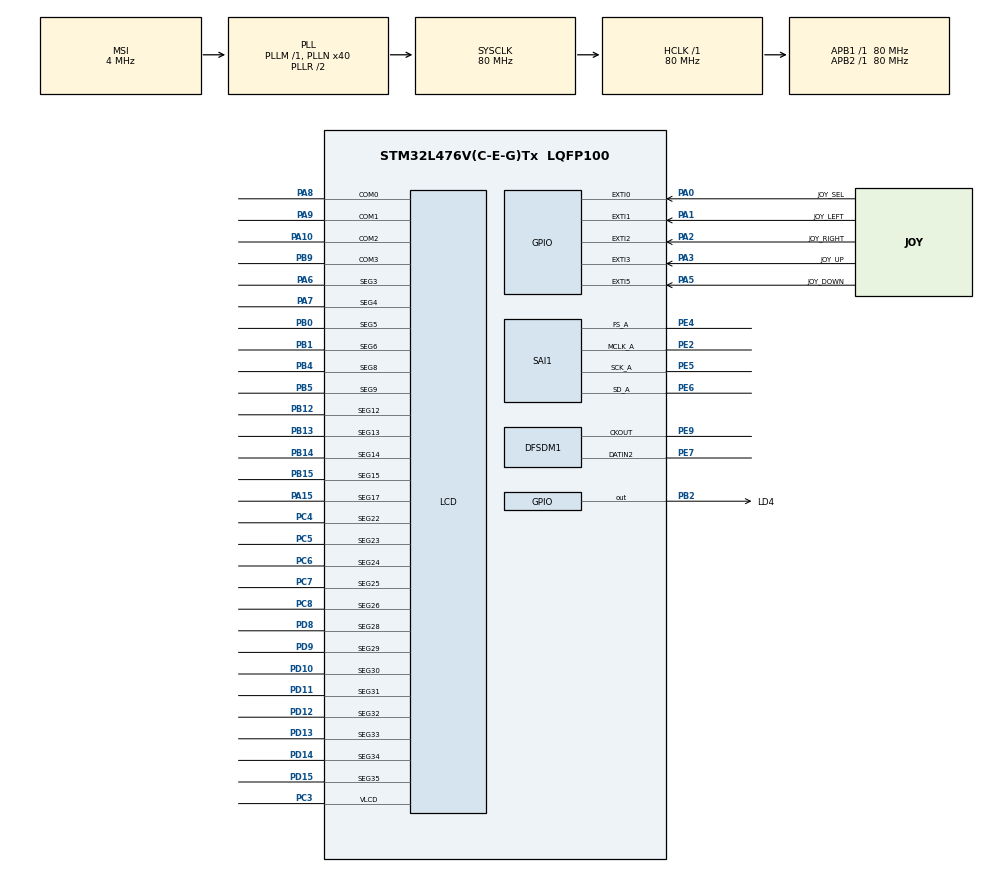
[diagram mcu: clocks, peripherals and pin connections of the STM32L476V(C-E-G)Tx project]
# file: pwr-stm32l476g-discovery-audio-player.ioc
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DFSDM1.Divider=4
DFSDM1.DmaMode_reg_FIL0=ENABLE
DFSDM1.FastMode_reg_FIL0=ENABLE
DFSDM1.Filter_injChannel2_FIL0=DFSDM_CHANNEL_2
DFSDM1.Filter_regChannel_FIL0=DFSDM_CHANNEL_2
DFSDM1.Fosr_FIL0=64
DFSDM1.Oversampling_CH2=10
DFSDM1.RightBitShift_CH2=0x02
DFSDM1.ScanMode_inj_FIL0=ENABLE
DFSDM1.Selection=DFSDM_CHANNEL_OUTPUT_CLOCK_AUDIO
DFSDM1.SincOrder_FIL0=DFSDM_FILTER_SINC3_ORDER
Dma.DFSDM1_FLT0.0.Direction=DMA_PERIPH_TO_MEMORY
Dma.DFSDM1_FLT0.0.Instance=DMA1_Channel4
Dma.DFSDM1_FLT0.0.MemDataAlignment=DMA_MDATAALIGN_WORD
Dma.DFSDM1_FLT0.0.MemInc=DMA_MINC_ENABLE
Dma.DFSDM1_FLT0.0.Mode=DMA_CIRCULAR
Dma.DFSDM1_FLT0.0.PeriphDataAlignment=DMA_PDATAALIGN_WORD
Dma.DFSDM1_FLT0.0.PeriphInc=DMA_PINC_DISABLE
Dma.DFSDM1_FLT0.0.Priority=DMA_PRIORITY_HIGH
Dma.Request0=DFSDM1_FLT0
Dma.Request1=SAI1_A
Dma.SAI1_A.1.Direction=DMA_MEMORY_TO_PERIPH
Dma.SAI1_A.1.Instance=DMA2_Channel1
Dma.SAI1_A.1.MemDataAlignment=DMA_MDATAALIGN_HALFWORD
Dma.SAI1_A.1.MemInc=DMA_MINC_ENABLE
Dma.SAI1_A.1.Mode=DMA_CIRCULAR
Dma.SAI1_A.1.PeriphDataAlignment=DMA_PDATAALIGN_HALFWORD
Dma.SAI1_A.1.PeriphInc=DMA_PINC_DISABLE
Dma.SAI1_A.1.Priority=DMA_PRIORITY_HIGH
LCD.Bias=LCD_BIAS_1_3
LCD.BlinkFrequency=LCD_BLINKFREQUENCY_DIV8
LCD.Contrast=LCD_CONTRASTLEVEL_5
LCD.Divider=LCD_DIVIDER_16
LCD.Prescaler=LCD_PRESCALER_4
LCD.PulseOnDuration=LCD_PULSEONDURATION_4
Mcu.Family=STM32L4
Mcu.Name=STM32L476V(C-E-G)Tx
Mcu.Package=LQFP100
NVIC.DMA1_Channel4_IRQn=true\:1\:0\:true\:false\:true\:false\:true\:true
NVIC.DMA2_Channel1_IRQn=true\:1\:0\:true\:false\:true\:false\:true\:true
NVIC.EXTI0_IRQn=true\:0\:0\:true\:false\:true\:true\:true\:true
NVIC.EXTI1_IRQn=true\:0\:0\:true\:false\:true\:true\:true\:true
NVIC.EXTI2_IRQn=true\:0\:0\:true\:false\:true\:true\:true\:true
NVIC.EXTI3_IRQn=true\:0\:0\:true\:false\:true\:true\:true\:true
NVIC.EXTI9_5_IRQn=true\:0\:0\:true\:false\:true\:true\:true\:true
NVIC.PriorityGroup=NVIC_PRIORITYGROUP_4
PA0.GPIO_Label=JOY_SEL
PA0.GPIO_PuPd=GPIO_PULLDOWN
PA0.Signal=GPXTI0
PA1.GPIO_Label=JOY_LEFT
PA1.GPIO_PuPd=GPIO_PULLDOWN
PA1.Signal=GPXTI1
PA10.Mode=1/4 Duty Cycle
PA10.Signal=LCD_COM2
PA15\ (JTDI).Mode=SEG17
PA15\ (JTDI).Signal=LCD_SEG17
PA2.GPIO_Label=JOY_RIGHT
PA2.GPIO_PuPd=GPIO_PULLDOWN
PA2.Signal=GPXTI2
PA3.GPIO_Label=JOY_UP
PA3.GPIO_PuPd=GPIO_PULLDOWN
PA3.Signal=GPXTI3
PA5.GPIO_Label=JOY_DOWN
PA5.GPIO_PuPd=GPIO_PULLDOWN
PA5.Signal=GPXTI5
PA6.Mode=SEG3
PA6.Signal=LCD_SEG3
PA7.Mode=SEG4
PA7.Signal=LCD_SEG4
PA8.Mode=1/4 Duty Cycle
PA8.Signal=LCD_COM0
PA9.Mode=1/4 Duty Cycle
PA9.Signal=LCD_COM1
PB0.Mode=SEG5
PB0.Signal=LCD_SEG5
PB1.Mode=SEG6
PB1.Signal=LCD_SEG6
PB12.Mode=SEG12
PB12.Signal=LCD_SEG12
PB13.Mode=SEG13
PB13.Signal=LCD_SEG13
PB14.Mode=SEG14
PB14.Signal=LCD_SEG14
PB15.Mode=SEG15
PB15.Signal=LCD_SEG15
PB2.GPIO_Label=LD4
PB2.Signal=GPIO_Output
PB4\ (NJTRST).Mode=SEG8
PB4\ (NJTRST).Signal=LCD_SEG8
PB5.Mode=SEG9
PB5.Signal=LCD_SEG9
PB9.Mode=1/4 Duty Cycle
PB9.Signal=LCD_COM3
PC3.Mode=1/4 Duty Cycle
PC3.Signal=LCD_VLCD
PC4.Mode=SEG22
PC4.Signal=LCD_SEG22
PC5.Mode=SEG23
PC5.Signal=LCD_SEG23
PC6.Mode=SEG24
PC6.Signal=LCD_SEG24
PC7.Mode=SEG25
PC7.Signal=LCD_SEG25
PC8.Mode=SEG26
PC8.Signal=LCD_SEG26
PD10.Mode=SEG30
PD10.Signal=LCD_SEG30
PD11.Mode=SEG31
PD11.Signal=LCD_SEG31
PD12.Mode=SEG32
PD12.Signal=LCD_SEG32
PD13.Mode=SEG33
PD13.Signal=LCD_SEG33
PD14.Mode=SEG34
PD14.Signal=LCD_SEG34
PD15.Mode=SEG35
PD15.Signal=LCD_SEG35
PD8.Mode=SEG28
PD8.Signal=LCD_SEG28
PD9.Mode=SEG29
PD9.Signal=LCD_SEG29
PE2.Mode=SAI_A_MasterWithClock
PE2.Signal=SAI1_MCLK_A
PE4.Mode=SAI_A_MasterWithClock
PE4.Signal=SAI1_FS_A
PE5.Mode=SAI_A_MasterWithClock
PE5.Signal=SAI1_SCK_A
PE6.Mode=SAI_A_MasterWithClock
PE6.Signal=SAI1_SD_A
PE7.Signal=S_DATAIN2DFSDM1
PE9.Signal=S_CKOUTDFSDM1
ProjectManager.HeapSize=0x200
ProjectManager.StackSize=0x400
ProjectManager.TargetToolchain=STM32CubeIDE
RCC.ADCFreq_Value=96000000
RCC.AHBFreq_Value=80000000
RCC.APB1Freq_Value=80000000
RCC.APB1TimFreq_Value=80000000
RCC.APB2Freq_Value=80000000
RCC.APB2TimFreq_Value=80000000
RCC.CortexFreq_Value=80000000
RCC.HCLKFreq_Value=80000000
RCC.HSE_VALUE=8000000
RCC.HSI_VALUE=16000000
RCC.LSE_VALUE=32768
RCC.MSI_VALUE=4000000
RCC.PLLN=40
RCC.PLLSAI1N=48
RCC.PLLSAI1P=RCC_PLLP_DIV17
RCC.SYSCLKFreq_VALUE=80000000
RCC.SYSCLKSource=RCC_SYSCLKSOURCE_PLLCLK
RCC.USBFreq_Value=96000000
RCC.VCOOutputFreq_Value=160000000
SAI1.ActiveFrameLength-SAI_A_MasterWithClock=16
SAI1.AudioFrequency-SAI_A_MasterWithClock=SAI_AUDIO_FREQUENCY_44K
SAI1.DataSize-SAI_A_MasterWithClock=SAI_DATASIZE_16
SAI1.ErrorAudioFreq-SAI_A_MasterWithClock=0.26 %
SAI1.FIFOThreshold-SAI_A_MasterWithClock=SAI_FIFOTHRESHOLD_1QF
SAI1.FSDefinition-SAI_A_MasterWithClock=SAI_FS_CHANNEL_IDENTIFICATION
SAI1.FSOffset-SAI_A_MasterWithClock=SAI_FS_BEFOREFIRSTBIT
SAI1.FrameLength-SAI_A_MasterWithClock=32
SAI1.Instance-SAI_A_MasterWithClock=SAI$Index_Block_A
SAI1.MClockEnable-SAI_A_MasterWithClock=SAI_MASTERCLOCK_ENABLE
SAI1.OutputDrive-SAI_A_MasterWithClock=SAI_OUTPUTDRIVE_ENABLE
SAI1.RealAudioFreq-SAI_A_MasterWithClock=44.117 KHz
SAI1.SlotActive-SAI_A_MasterWithClock=0x00000003
SAI1.SlotNumber-SAI_A_MasterWithClock=2
SAI1.VirtualMode-SAI_A_MasterWithClock=VM_MASTER
SAI1.VirtualSlotActive-SAI_A_MasterWithClock=SAI_SLOT_USERSETTING
SAI1.VirtualSlotActive0-SAI_A_MasterWithClock=true
SAI1.VirtualSlotActive1-SAI_A_MasterWithClock=true
SH.S_CKOUTDFSDM1.0=DFSDM1_CKOUT,CKOUT
SH.S_CKOUTDFSDM1.1=DFSDM1_CKOUT,PDM_SPI_input_from_ch2_and_internal_clock
SH.S_DATAIN2DFSDM1.0=DFSDM1_DATIN2,PDM_SPI_input_from_ch2_and_internal_clock
board=custom

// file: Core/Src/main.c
/* USER CODE BEGIN Header */
/**
  ******************************************************************************
  * @file           : main.c
  * @brief          : Main program body
  ******************************************************************************
  * @attention
  *
  * <h2><center>&copy; Copyright (c) 2023 STMicroelectronics.
  * All rights reserved.</center></h2>
  *
  * This software component is licensed by ST under BSD 3-Clause license,
  * the "License"; You may not use this file except in compliance with the
  * License. You may obtain a copy of the License at:
  *                        opensource.org/licenses/BSD-3-Clause
  *
  ******************************************************************************
  */
/* USER CODE END Header */
#include "main.h"
#include "dfsdm.h"
#include "dma.h"
#include "lcd.h"
#include "sai.h"
#include "gpio.h"

/* USER CODE BEGIN Includes */
#include "stm32l476g_discovery.h"
#include "../Components/cs43l22/cs43l22.h"
#include "app.h"
#include "arm_math.h"
/* USER CODE END Includes */

/* USER CODE BEGIN PM */
#define SaturaLH(N, L, H) (((N)<(L))?(L):(((N)>(H))?(H):(N)))
#define FFT_SAMPLES 1024
/* USER CODE END PM */

/* USER CODE BEGIN PV */
AUDIO_DrvTypeDef *audio_drv;
int32_t RecBuff[2048];
int16_t PlayBuff[4096];
uint8_t OutFreqArray[10];
uint32_t DmaRecHalfBuffCplt	= 0;
uint32_t DmaRecBuffCplt		= 0;
uint32_t PlaybackStarted	= 0;
uint8_t volume = 80;
uint32_t i;
float FFTInBuffer[FFT_SAMPLES];
float FFTOutBuffer[FFT_SAMPLES];

arm_rfft_fast_instance_f32 FFTHandler;

volatile uint8_t SamplesReady;

/* USER CODE END PV */

void SystemClock_Config(void);
/* USER CODE BEGIN PFP */
void AudioDriver_Init(void);
/* USER CODE END PFP */

int main(void)
{

  /* MCU Configuration--------------------------------------------------------*/

  /* Reset of all peripherals, Initializes the Flash interface and the Systick. */
  HAL_Init();

  /* Configure the system clock */
  SystemClock_Config();

  /* Initialize all configured peripherals */
  MX_GPIO_Init();
  MX_DMA_Init();
  MX_DFSDM1_Init();
  MX_SAI1_Init();
  MX_LCD_Init();
  /* USER CODE BEGIN 2 */

  APP_Init();

  AudioDriver_Init();
  arm_rfft_fast_init_f32(&FFTHandler, FFT_SAMPLES);

  /* Start DFSDM conversions */
  if(HAL_OK != HAL_DFSDM_FilterRegularStart_DMA(&hdfsdm1_filter0, RecBuff, 2048))
  {
    Error_Handler();
  }

  if(0 != audio_drv->Play(AUDIO_I2C_ADDRESS, (uint16_t *) &PlayBuff[0], 4096))
  {
	Error_Handler();
  }
  if(0 != audio_drv->Pause(AUDIO_I2C_ADDRESS))
  {
	Error_Handler();
  }
  if(HAL_OK != HAL_SAI_Transmit_DMA(&hsai_BlockA1, (uint8_t *) &PlayBuff[0], 4096))
  {
	Error_Handler();
  }

  /* USER CODE END 2 */

  /* Infinite loop */
  /* USER CODE BEGIN WHILE */
  while (1)
  {
	 /* Store values on Play buff */
	 for(i = 0; i < 2048; ++i)
	 {
	  	PlayBuff[2*i]     = SaturaLH((RecBuff[i] >> 8), -32768, 32767);
	  	PlayBuff[(2*i)+1] = PlayBuff[2*i];

	    if(SamplesReady == 1)
	    {
	    	  SamplesReady = 0;

	    	  for(i = 0; i < FFT_SAMPLES; ++i)
	    	  {
	    		  FFTInBuffer[i] =  (float)PlayBuff[i];
	    	  }

	    	  CalculateFFT();
	    }
	 }
    /* USER CODE END WHILE */

  }
}

void SystemClock_Config(void)
{
  RCC_OscInitTypeDef RCC_OscInitStruct = {0};
  RCC_ClkInitTypeDef RCC_ClkInitStruct = {0};
  RCC_PeriphCLKInitTypeDef PeriphClkInit = {0};

  /** Initializes the RCC Oscillators according to the specified parameters
  * in the RCC_OscInitTypeDef structure.
  */
  RCC_OscInitStruct.OscillatorType = RCC_OSCILLATORTYPE_LSI|RCC_OSCILLATORTYPE_MSI;
  RCC_OscInitStruct.LSIState = RCC_LSI_ON;
  RCC_OscInitStruct.MSIState = RCC_MSI_ON;
  RCC_OscInitStruct.MSICalibrationValue = 0;
  RCC_OscInitStruct.MSIClockRange = RCC_MSIRANGE_6;
  RCC_OscInitStruct.PLL.PLLState = RCC_PLL_ON;
  RCC_OscInitStruct.PLL.PLLSource = RCC_PLLSOURCE_MSI;
  RCC_OscInitStruct.PLL.PLLM = 1;
  RCC_OscInitStruct.PLL.PLLN = 40;
  RCC_OscInitStruct.PLL.PLLP = RCC_PLLP_DIV7;
  RCC_OscInitStruct.PLL.PLLQ = RCC_PLLQ_DIV2;
  RCC_OscInitStruct.PLL.PLLR = RCC_PLLR_DIV2;
  if (HAL_RCC_OscConfig(&RCC_OscInitStruct) != HAL_OK)
  {
    Error_Handler();
  }
  /** Initializes the CPU, AHB and APB buses clocks
  */
  RCC_ClkInitStruct.ClockType = RCC_CLOCKTYPE_HCLK|RCC_CLOCKTYPE_SYSCLK
                              |RCC_CLOCKTYPE_PCLK1|RCC_CLOCKTYPE_PCLK2;
  RCC_ClkInitStruct.SYSCLKSource = RCC_SYSCLKSOURCE_PLLCLK;
  RCC_ClkInitStruct.AHBCLKDivider = RCC_SYSCLK_DIV1;
  RCC_ClkInitStruct.APB1CLKDivider = RCC_HCLK_DIV1;
  RCC_ClkInitStruct.APB2CLKDivider = RCC_HCLK_DIV1;

  if (HAL_RCC_ClockConfig(&RCC_ClkInitStruct, FLASH_LATENCY_4) != HAL_OK)
  {
    Error_Handler();
  }
  PeriphClkInit.PeriphClockSelection = RCC_PERIPHCLK_RTC|RCC_PERIPHCLK_SAI1
                              |RCC_PERIPHCLK_DFSDM1;
  PeriphClkInit.Sai1ClockSelection = RCC_SAI1CLKSOURCE_PLLSAI1;
  PeriphClkInit.Dfsdm1ClockSelection = RCC_DFSDM1CLKSOURCE_PCLK;
  PeriphClkInit.RTCClockSelection = RCC_RTCCLKSOURCE_LSI;
  PeriphClkInit.PLLSAI1.PLLSAI1Source = RCC_PLLSOURCE_MSI;
  PeriphClkInit.PLLSAI1.PLLSAI1M = 1;
  PeriphClkInit.PLLSAI1.PLLSAI1N = 48;
  PeriphClkInit.PLLSAI1.PLLSAI1P = RCC_PLLP_DIV17;
  PeriphClkInit.PLLSAI1.PLLSAI1Q = RCC_PLLQ_DIV2;
  PeriphClkInit.PLLSAI1.PLLSAI1R = RCC_PLLR_DIV2;
  PeriphClkInit.PLLSAI1.PLLSAI1ClockOut = RCC_PLLSAI1_SAI1CLK;
  if (HAL_RCCEx_PeriphCLKConfig(&PeriphClkInit) != HAL_OK)
  {
    Error_Handler();
  }
  /** Configure the main internal regulator output voltage
  */
  if (HAL_PWREx_ControlVoltageScaling(PWR_REGULATOR_VOLTAGE_SCALE1) != HAL_OK)
  {
    Error_Handler();
  }
}

/* USER CODE BEGIN 4 */
uint32_t Flash_Write_Data (uint32_t StartPageAddress, int64_t *Data, int numofwords)
{
	static FLASH_EraseInitTypeDef EraseInitStruct;
	uint32_t PAGEError;
	int sofar=0;

	/* Unlock the Flash to enable the flash control register access */
   HAL_FLASH_Unlock();

   /* Fill EraseInit structure*/
   EraseInitStruct.TypeErase = FLASH_TYPEERASE_PAGES;
   EraseInitStruct.Page = StartPageAddress;
   EraseInitStruct.NbPages = (numofwords * 8/FLASH_PAGE_SIZE)+1;

   if (HAL_FLASHEx_Erase(&EraseInitStruct, &PAGEError) != HAL_OK)
   {
	 /*Error occurred while page erase.*/
	  return -1;
   }

   /* Program the user Flash area word by word*/
   while (sofar < numofwords)
   {
	 if (StartPageAddress >= 0x080FFFFF)
	 {
		 return -1;
	 }
	 if (HAL_FLASH_Program(FLASH_TYPEPROGRAM_DOUBLEWORD, StartPageAddress, Data[sofar]) == HAL_OK)
	 {
		 StartPageAddress += 8;  // use StartPageAddress += 2 for half word and 8 for double word
		 ++sofar;
	 }
	 else
	 {
	   /* Error occurred while writing data in Flash memory*/
		 return -1;
	 }
   }

   /* Lock the Flash to disable the flash control register access (recommended
	  to protect the FLASH memory against possible unwanted operation) */
   HAL_FLASH_Lock();

   return StartPageAddress;
}

void Flash_Read_Data (uint32_t StartPageAddress, int64_t *RxBuf, int numofwords)
{
	while (1)
	{
		*RxBuf = *(__IO int64_t *)StartPageAddress;
		StartPageAddress += 8;
		RxBuf++;
		if (!(--numofwords - 1))
		{
			break;
		}
	}
}
float complexABS(float real, float compl) {
	return sqrtf(real*real+compl*compl);
}
void CalculateFFT(void)
{
	arm_rfft_fast_f32(&FFTHandler, FFTInBuffer, FFTOutBuffer, 0);

	int Freqs[FFT_SAMPLES];
	int FreqPoint = 0;
	int Offset = 45; // variable noise floor offset

	// calculate abs values and linear-to-dB
	for (int i = 0; i < FFT_SAMPLES; i = i+2)
	{
		Freqs[FreqPoint] = (int)(20*log10f(complexABS(FFTOutBuffer[i], FFTOutBuffer[i+1]))) - Offset;

		if(Freqs[FreqPoint] < 0)
		{
			Freqs[FreqPoint] = 0;
		}
		FreqPoint++;

	}
	OutFreqArray[0] = (uint8_t)Freqs[1]; // 22 Hz
	OutFreqArray[1] = (uint8_t)Freqs[2]; // 63 Hz
	OutFreqArray[2] = (uint8_t)Freqs[3]; // 125 Hz
	OutFreqArray[3] = (uint8_t)Freqs[6]; // 250 Hz
	OutFreqArray[4] = (uint8_t)Freqs[12]; // 500 Hz
	OutFreqArray[5] = (uint8_t)Freqs[23]; // 1000 Hz
	OutFreqArray[6] = (uint8_t)Freqs[51]; // 2200 Hz
	OutFreqArray[7] = (uint8_t)Freqs[104]; // 4500 Hz
	OutFreqArray[8] = (uint8_t)Freqs[207]; // 9000 Hz
	OutFreqArray[9] = (uint8_t)Freqs[344]; // 15000 Hz

	// write to flash
	Flash_Write_Data(0x08080000, OutFreqArray, 10);
}

void AudioDriver_Init(void) {

  /* Enable SAI to generate clock used by audio driver */
  __HAL_SAI_ENABLE(&hsai_BlockA1);

  /* Initialize audio driver */
  if(CS43L22_ID != cs43l22_drv.ReadID(AUDIO_I2C_ADDRESS))
  {
	Error_Handler();
  }
  audio_drv = &cs43l22_drv;
  audio_drv->Reset(AUDIO_I2C_ADDRESS);
  if(0 != audio_drv->Init(AUDIO_I2C_ADDRESS, OUTPUT_DEVICE_HEADPHONE, volume, AUDIO_FREQUENCY_44K))
  {
	Error_Handler();
  }
}

/**
  * @brief  Half regular conversion complete callback.
  * @param  hdfsdm_filter : DFSDM filter handle.
  * @retval None
  */
void HAL_DFSDM_FilterRegConvHalfCpltCallback(DFSDM_Filter_HandleTypeDef *hdfsdm_filter)
{
  DmaRecHalfBuffCplt = 1;
}

/**
  * @brief  Regular conversion complete callback.
  * @note   In interrupt mode, user has to read conversion value in this function
            using HAL_DFSDM_FilterGetRegularValue.
  * @param  hdfsdm_filter : DFSDM filter handle.
  * @retval None
  */
void HAL_DFSDM_FilterRegConvCpltCallback(DFSDM_Filter_HandleTypeDef *hdfsdm_filter)
{
  DmaRecBuffCplt = 1;
}

/* USER CODE END 4 */

void Error_Handler(void)
{
  /* USER CODE BEGIN Error_Handler_Debug */
  /* User can add his own implementation to report the HAL error return state */
	while (1)
	{
	  /* Toggle LED4 with a period of one second */
	  HAL_GPIO_TogglePin(GPIOB, GPIO_PIN_2);
	  HAL_Delay(1000);
	}
  /* USER CODE END Error_Handler_Debug */
}

/************************ (C) COPYRIGHT STMicroelectronics *****END OF FILE****/
